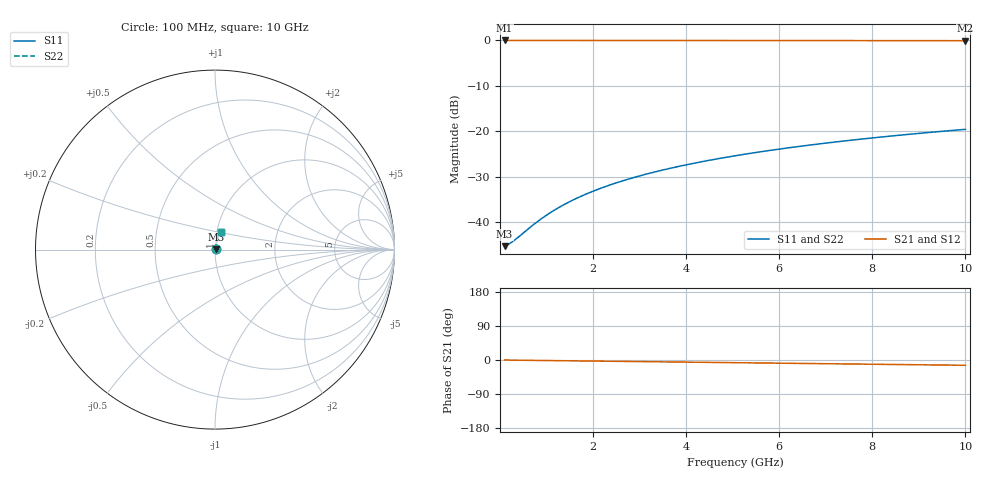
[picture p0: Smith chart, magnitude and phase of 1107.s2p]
# Hz S RI R 50.00
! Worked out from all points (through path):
!   100 points, 100 MHz to 10 GHz, reference 50 ohm
!   highest |S21| = -0.05 dB at 100 MHz (marker M1); lowest = -0.1 dB at 10 GHz (marker M2)
!   group delay of S21, straight-line fit = 3.88 ps
!   lowest |S11| = -45.2 dB at 100 MHz (marker M3), VSWR 1.01, Z = 50.5 + j0.106 ohm
!   |S11| at or under -10 dB: start of sweep to end of sweep
!   |S22| runs from -45.2 to -19.6 dB; largest |S21 - S12| = 0
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1e8  0.00538 0.00105  0.9946 -0.00243  0.9946 -0.00243  0.00538 0.00105
2e8  0.00542 0.0021  0.9946 -0.00486  0.9946 -0.00486  0.00542 0.0021
3e8  0.00546 0.00315  0.9945 -0.00729  0.9945 -0.00729  0.00546 0.00315
8e8  0.00568 0.0084  0.9942 -0.0194  0.9942 -0.0194  0.00568 0.0084
9e8  0.00574 0.00945  0.9942 -0.0219  0.9942 -0.0219  0.00574 0.00945
1.1e9  0.00586 0.0115  0.994 -0.0267  0.994 -0.0267  0.00586 0.0115
1.4e9  0.00608 0.0147  0.9937 -0.034  0.9937 -0.034  0.00608 0.0147
1.6e9  0.00625 0.0168  0.9935 -0.0389  0.9935 -0.0389  0.00625 0.0168
1.8e9  0.00644 0.0189  0.9932 -0.0437  0.9932 -0.0437  0.00644 0.0189
2.1e9  0.00676 0.022  0.9928 -0.051  0.9928 -0.051  0.00676 0.022
2.5e9  0.00726 0.0262  0.9921 -0.0607  0.9921 -0.0607  0.00726 0.0262
2.9e9  0.00783 0.0303  0.9913 -0.0704  0.9913 -0.0704  0.00783 0.0303
3.4e9  0.00867 0.0355  0.9902 -0.0824  0.9902 -0.0824  0.00867 0.0355
3.8e9  0.00942 0.0396  0.9891 -0.0921  0.9891 -0.0921  0.00942 0.0396
4.2e9  0.0103 0.0437  0.988 -0.1017  0.988 -0.1017  0.0103 0.0437
4.6e9  0.0112 0.0478  0.9867 -0.1113  0.9867 -0.1113  0.0112 0.0478
5.1e9  0.0124 0.0529  0.985 -0.1233  0.985 -0.1233  0.0124 0.0529
5.9e9  0.0147 0.061  0.9819 -0.1424  0.9819 -0.1424  0.0147 0.061
6.7e9  0.0173 0.0689  0.9784 -0.1614  0.9784 -0.1614  0.0173 0.0689
7.5e9  0.0201 0.0768  0.9744 -0.1803  0.9744 -0.1803  0.0201 0.0768
8.4e9  0.0237 0.0855  0.9694 -0.2015  0.9694 -0.2015  0.0237 0.0855
1e10  0.031 0.1004  0.9592 -0.2386  0.9592 -0.2386  0.031 0.1004
